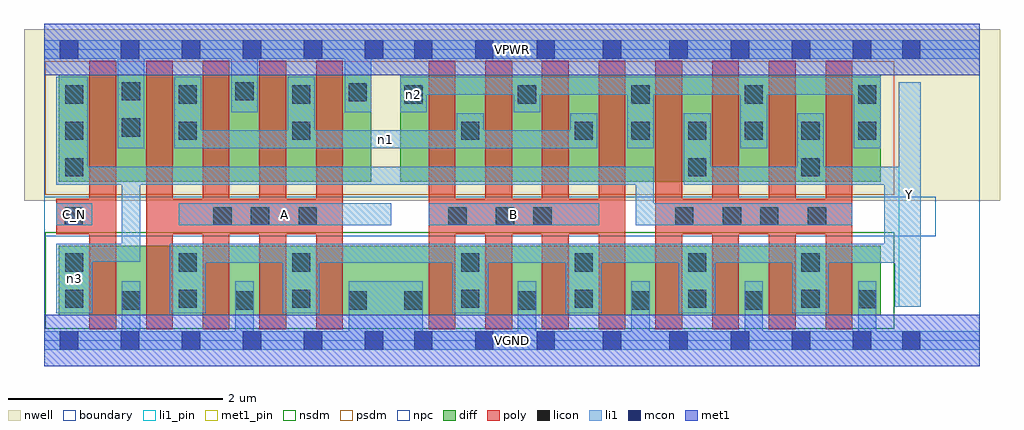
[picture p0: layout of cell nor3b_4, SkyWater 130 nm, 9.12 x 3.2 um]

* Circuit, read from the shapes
.subckt nor3b_4 A B C_N VGND VPWR Y n1 n2 n3
XM1 VGND C_N n3 VSUBS sky130_fd_pr__nfet_01v8 w=0.65 l=0.25
XM2 Y A VGND VSUBS sky130_fd_pr__nfet_01v8 w=0.65 l=0.25 m=4
XM3 Y B VGND VSUBS sky130_fd_pr__nfet_01v8 w=0.65 l=0.25 m=4
XM4 Y n3 VGND VSUBS sky130_fd_pr__nfet_01v8 w=0.65 l=0.25 m=4
XM5 VPWR C_N n3 n4 sky130_fd_pr__pfet_01v8 w=1 l=0.25
XM6 n1 A VPWR n4 sky130_fd_pr__pfet_01v8 w=1 l=0.25 m=4
XM7 n1 B n2 n4 sky130_fd_pr__pfet_01v8 w=1 l=0.25 m=4
XM8 Y n3 n2 n4 sky130_fd_pr__pfet_01v8 w=1 l=0.25 m=4
.ends

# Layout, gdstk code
import gdstk
lib = gdstk.Library(unit=1e-6, precision=1e-09)
def R(c, l, rs):  # rectangles x0, y0, x1, y1
    for r in rs: c.add(gdstk.rectangle(r[:2], r[2:], *l))
def A(c, l, x, y, w, h, nx, ny, dx, dy):  # array of equal rectangles
    R(c, l, [(x+i*dx, y+j*dy, x+i*dx+w, y+j*dy+h) for i in range(nx) for j in range(ny)])
nwell = (64, 20)
diff = (65, 20)
poly = (66, 20)
licon = (66, 44)
li1_pin = (67, 16)
li1 = (67, 20)
mcon = (67, 44)
met1_pin = (68, 16)
met1 = (68, 20)
nsdm = (93, 44)
psdm = (94, 20)
npc = (95, 20)
boundary = (235, 4)

nor3b_4 = lib.new_cell('nor3b_4')
R(nor3b_4, nwell, [(-0.19,1.305,8.93,2.91), (0,1.305,8.74,2.91)])
R(nor3b_4, diff, [(0.135,0.235,7.815,0.885), (0.135,1.485,3.055,2.485), (3.325,1.485,7.815,2.485)])
A(nor3b_4, poly, 0.42, 0.105, 0.25, 2.51, 5, 1, 0.53, 0)
A(nor3b_4, poly, 3.59, 0.105, 0.25, 2.51, 8, 1, 0.53, 0)
R(nor3b_4, poly, [(0.11,0.995,0.67,1.325), (0.95,0.995,2.79,1.325), (3.59,0.995,5.43,1.325), (5.71,0.995,7.55,1.325)])
A(nor3b_4, licon, 0.725, 0.29, 0.17, 0.17, 3, 1, 1.06, 0)
A(nor3b_4, licon, 3.365, 0.29, 0.17, 0.17, 4, 1, 1.06, 0)
A(nor3b_4, licon, 0.195, 0.305, 0.17, 0.17, 3, 2, 1.06, 0.34)
A(nor3b_4, licon, 3.895, 0.305, 0.17, 0.17, 4, 2, 1.06, 0.34)
A(nor3b_4, licon, 0.195, 1.875, 0.17, 0.17, 3, 2, 1.06, 0.34)
A(nor3b_4, licon, 4.955, 1.875, 0.17, 0.17, 6, 1, 0.53, 0)
A(nor3b_4, licon, 3.365, 2.215, 0.17, 0.17, 5, 1, 1.06, 0)
R(nor3b_4, licon, [(7.605,0.3,7.775,0.47), (0.19,1.075,0.36,1.245), (1.58,1.075,1.75,1.245), (1.93,1.075,2.1,1.245), (2.375,1.075,2.545,1.245), (3.775,1.075,3.945,1.245), (4.22,1.075,4.39,1.245), (4.57,1.075,4.74,1.245), (5.895,1.075,6.065,1.245), (6.34,1.075,6.51,1.245), (6.69,1.075,6.86,1.245), (7.135,1.075,7.305,1.245), (0.195,1.535,0.365,1.705), (6.015,1.535,6.185,1.705), (7.075,1.535,7.245,1.705), (3.895,1.875,4.065,2.045), (0.725,1.905,0.895,2.075), (2.845,2.235,3.015,2.405), (0.725,2.245,0.895,2.415), (1.785,2.245,1.955,2.415)])
R(nor3b_4, li1_pin, [(7.985,0.315,8.19,2.415), (0.11,1.075,0.45,1.285), (1.255,1.075,3.24,1.285), (3.59,1.075,5.185,1.285)])
A(nor3b_4, li1, 4.425, -0.085, 0.17, 0.64, 4, 1, 1.06, 0)
A(nor3b_4, li1, 0.11, 0.255, 0.34, 0.65, 3, 1, 1.06, 0)
A(nor3b_4, li1, 3.81, 0.255, 0.34, 0.65, 4, 1, 1.06, 0)
A(nor3b_4, li1, 5.445, 1.795, 0.25, 0.67, 3, 1, 1.06, 0)
R(nor3b_4, li1, [(0,-0.085,8.74,0.085), (0.725,-0.085,0.895,0.555), (1.785,-0.085,1.955,0.555), (2.845,-0.085,3.535,0.555), (7.945,0.315,8.19,1.625), (7.985,0.315,8.19,2.415), (1.17,0.725,8.19,0.905), (7.85,0.725,8.19,1.625), (0.11,0.735,0.895,0.905), (0.725,0.735,0.895,1.625), (0.11,1.075,0.45,1.285), (1.255,1.075,3.24,1.285), (3.59,1.075,5.185,1.285), (5.525,1.075,7.55,1.285), (5.525,1.075,5.695,1.625), (0.11,1.455,5.695,1.625), (0.11,1.455,0.405,2.465), (5.975,1.455,8.19,1.625), (5.975,1.455,6.225,2.125), (7.035,1.455,7.285,2.125), (0.685,1.795,0.935,2.805), (1.215,1.795,1.465,2.465), (1.215,1.795,5.165,1.965), (2.275,1.795,2.525,2.465), (3.855,1.795,4.105,2.125), (4.915,1.795,5.165,2.125), (1.745,2.135,1.995,2.805), (2.805,2.135,3.055,2.805), (3.325,2.135,3.575,2.465), (4.385,2.135,4.635,2.465), (3.325,2.295,7.815,2.465), (0,2.635,8.74,2.805)])
A(nor3b_4, mcon, 0.145, -0.085, 0.17, 0.17, 6, 2, 0.57, 2.72)
A(nor3b_4, mcon, 4.6, -0.085, 0.17, 0.17, 3, 2, 0.62, 2.72)
A(nor3b_4, mcon, 6.415, -0.085, 0.17, 0.17, 3, 2, 0.57, 2.72)
R(nor3b_4, mcon, [(3.455,-0.085,3.625,0.085), (4.025,-0.085,4.195,0.085), (8.015,-0.085,8.185,0.085), (3.455,2.635,3.625,2.805), (4.025,2.635,4.195,2.805), (8.015,2.635,8.185,2.805)])
R(nor3b_4, met1_pin, [(0,-0.24,8.74,0.24), (0,2.48,8.74,2.96)])
R(nor3b_4, met1, [(0,-0.24,8.74,0.24), (0,2.48,8.74,2.96)])
R(nor3b_4, nsdm, [(0.01,0.11,7.94,1.01)])
R(nor3b_4, psdm, [(0.01,1.36,7.94,2.61)])
R(nor3b_4, npc, [(0,0.975,8.33,1.345)])
R(nor3b_4, boundary, [(0,0,8.74,2.72)])
nor3b_4.add(gdstk.Label('A', (2.247,1.18), layer=67, texttype=5))
nor3b_4.add(gdstk.Label('B', (4.387,1.18), layer=67, texttype=5))
nor3b_4.add(gdstk.Label('C_N', (0.28,1.18), layer=67, texttype=5))
nor3b_4.add(gdstk.Label('Y', (8.087,1.365), layer=67, texttype=5))
nor3b_4.add(gdstk.Label('n3', (0.28,0.58), layer=67, texttype=5))
nor3b_4.add(gdstk.Label('n1', (3.19,1.88), layer=67, texttype=5))
nor3b_4.add(gdstk.Label('n2', (3.45,2.3), layer=67, texttype=5))
nor3b_4.add(gdstk.Label('VPWR', (4.37,2.72), layer=68, texttype=5))
nor3b_4.add(gdstk.Label('VGND', (4.37,0), layer=68, texttype=5))
nor3b_4.add(gdstk.Label('A', (2.247,1.18), layer=67, texttype=16))
nor3b_4.add(gdstk.Label('B', (4.387,1.18), layer=67, texttype=16))
nor3b_4.add(gdstk.Label('C_N', (0.28,1.18), layer=67, texttype=16))
nor3b_4.add(gdstk.Label('Y', (8.087,1.365), layer=67, texttype=16))
nor3b_4.add(gdstk.Label('VPWR', (4.37,2.72), layer=68, texttype=16))
nor3b_4.add(gdstk.Label('VGND', (4.37,0), layer=68, texttype=16))

lib.write_gds('nor3b_4.gds')
